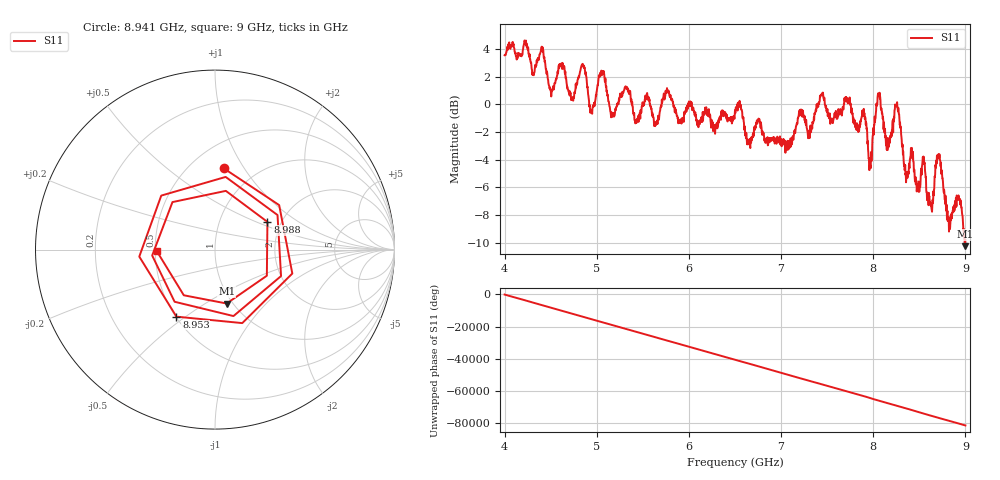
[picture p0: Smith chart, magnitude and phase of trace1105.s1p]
! Created with skrf 1.8.0 (http://scikit-rf.org).
# Hz S RI R 50.0
!freq ReS11 ImS11
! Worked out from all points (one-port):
!   1601 points, 4 GHz to 9 GHz, reference 50 ohm
!   lowest |S11| = -10.2 dB at 8.994 GHz (marker M1), VSWR 1.89, Z = 46.9 - j31.1 ohm
!   |S11| at or under -10 dB: 8.992334 GHz to 8.998579 GHz (6.245 MHz wide, 0.0694 % of centre)
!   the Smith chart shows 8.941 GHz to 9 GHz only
!   S11 on the Smith chart (normalised r, x): 8.941 GHz: 0.71, +0.82; 8.953 GHz: 0.50, -0.46; 8.988 GHz: 1.70, +0.59; 9 GHz: 0.51, -0.01
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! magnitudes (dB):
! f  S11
! 4 GHz  3.6
! 4.406 GHz  3.9
! 4.509 GHz  0.8
! 4.625 GHz  2.6
! 4.728 GHz  0.3
! 4.856 GHz  2.7
! 4.944 GHz  -0.4
! 5.053 GHz  2.1
! 5.169 GHz  -0.9
! 5.25 GHz  0.5
! 5.875 GHz  -0.8
! 6.5 GHz  -0.4
! 7.125 GHz  -2.5
! 7.75 GHz  0.0
! 7.962 GHz  -4.4
! 8.053 GHz  0.8
! 8.156 GHz  -3.3
! 8.256 GHz  -0.2
! 8.375 GHz  -5.3
! 8.544 GHz  -3.8
! 8.625 GHz  -7.3
! 8.709 GHz  -3.6
! 8.812 GHz  -8.3
! 8.941 GHz  -6.8
! 8.953 GHz  -7.3
! 8.988 GHz  -9.6
! 8.994 GHz  -10.2
! 9 GHz  -9.8
